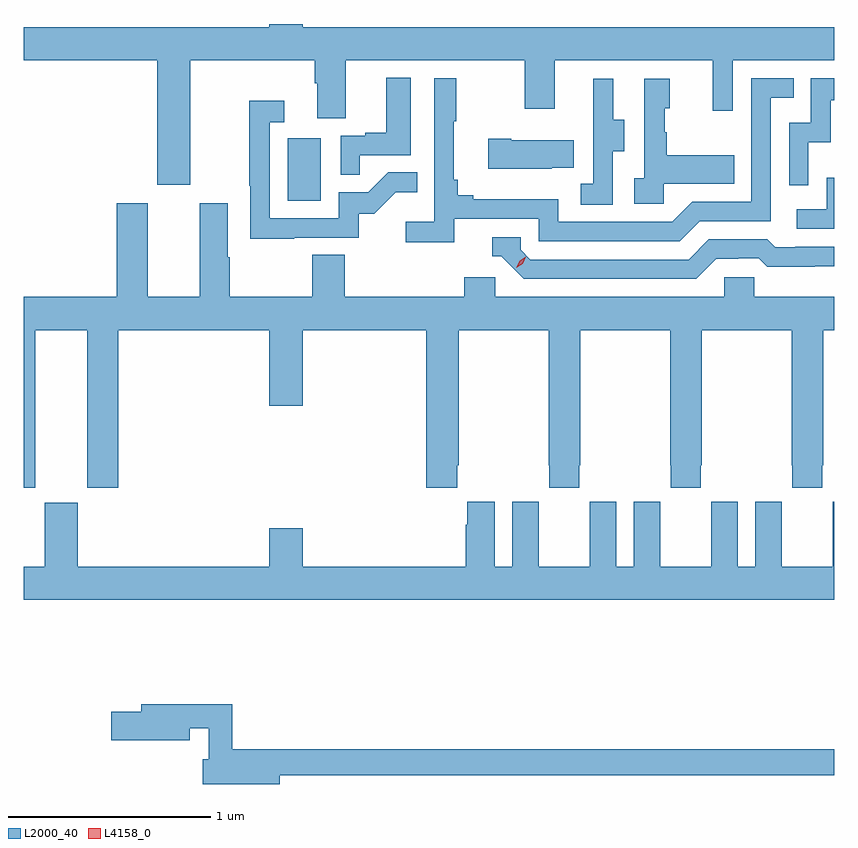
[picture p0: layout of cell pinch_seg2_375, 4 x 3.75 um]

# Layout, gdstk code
import gdstk
lib = gdstk.Library(unit=1e-6, precision=1e-09)
def R(c, l, rs):  # rectangles x0, y0, x1, y1
    for r in rs: c.add(gdstk.rectangle(r[:2], r[2:], *l))
def P(c, l, *ps):  # polygons
    for p in ps: c.add(gdstk.Polygon(p, *l))
L2000_40 = (2000, 40)
L4158_0 = (4158, 0)

pinch_seg2_375 = lib.new_cell('pinch_seg2_375')
R(pinch_seg2_375, L2000_40, [(992.27,624.3,992.434,624.607)])
P(pinch_seg2_375, L2000_40, [(991.789,624.992),(992.405,624.992),(992.405,624.88),(992.417,624.88),(992.417,624.706),(992.557,624.706),(992.557,624.992),(993.442,624.992),(993.442,624.753),(993.589,624.753),(993.589,624.992),(994.37,624.992),(994.37,624.744),(994.467,624.744),(994.467,624.992),(994.968,624.992),(994.968,625.156),(992.344,625.156),(992.344,625.172),(992.18,625.172),(992.18,625.156),(990.968,625.156),(990.968,624.992),(991.625,624.992),(991.625,624.378),(991.789,624.378)],
  [(992.627,624.525),(992.878,624.525),(992.878,624.907),(992.756,624.907),(992.756,624.634),(992.653,624.634),(992.653,624.621),(992.532,624.621),(992.532,624.427),(992.627,624.427)],
  [(993.092,624.21),(993.51,624.21),(993.51,624.099),(994.207,624.099),(994.306,624.198),(994.656,624.198),(994.656,624.807),(994.769,624.807),(994.769,624.903),(994.56,624.903),(994.56,624.294),(994.269,624.294),(994.17,624.195),(993.606,624.195),(993.606,624.307),(993.187,624.307),(993.187,624.326),(993.11,624.326),(993.11,624.403),(993.091,624.403),(993.091,624.691),(993.103,624.691),(993.103,624.904),(992.994,624.904),(992.994,624.196),(992.853,624.196),(992.853,624.094),(993.092,624.094)],
  [(994.842,624.587),(994.952,624.587),(994.952,624.795),(994.968,624.795),(994.968,624.903),(994.854,624.903),(994.854,624.684),(994.746,624.684),(994.746,624.375),(994.842,624.375)],
  [(994.128,624.383),(994.475,624.383),(994.475,624.523),(994.141,624.523),(994.141,624.638),(994.131,624.638),(994.131,624.756),(994.156,624.756),(994.156,624.901),(994.032,624.901),(994.032,624.41),(993.981,624.41),(993.981,624.285),(994.128,624.285)],
  [(993.876,624.544),(993.931,624.544),(993.931,624.699),(993.877,624.699),(993.877,624.901),(993.779,624.901),(993.779,624.687),(993.78,624.687),(993.78,624.383),(993.717,624.383),(993.717,624.28),(993.876,624.28)],
  [(992.303,624.117),(992.622,624.117),(992.622,624.234),(992.698,624.234),(992.805,624.341),(992.909,624.341),(992.909,624.44),(992.766,624.44),(992.668,624.342),(992.523,624.342),(992.523,624.213),(992.181,624.213),(992.181,624.687),(992.254,624.687),(992.254,624.793),(992.08,624.793),(992.08,624.373),(992.085,624.373),(992.085,624.112),(992.303,624.112)],
  [(993.575,624.461),(993.683,624.461),(993.683,624.598),(993.373,624.598),(993.373,624.606),(993.261,624.606),(993.261,624.458),(993.575,624.458)],
  [(994.968,624.412),(994.932,624.412),(994.932,624.258),(994.785,624.258),(994.785,624.162),(994.968,624.162)],
  [(991.024,623.66),(991.28,623.66),(991.28,622.881),(991.433,622.881),(991.433,623.66),(992.18,623.66),(992.18,623.286),(992.344,623.286),(992.344,623.66),(992.954,623.66),(992.954,622.881),(993.107,622.881),(993.107,622.993),(993.114,622.993),(993.114,623.66),(993.559,623.66),(993.559,622.993),(993.561,622.993),(993.561,622.881),(993.711,622.881),(993.711,622.993),(993.714,622.993),(993.714,623.66),(994.159,623.66),(994.159,622.993),(994.161,622.993),(994.161,622.881),(994.311,622.881),(994.311,622.993),(994.314,622.993),(994.314,623.66),(994.759,623.66),(994.759,622.993),(994.761,622.993),(994.761,622.881),(994.911,622.881),(994.911,622.993),(994.914,622.993),(994.914,623.66),(994.968,623.66),(994.968,623.824),(994.575,623.824),(994.575,623.922),(994.425,623.922),(994.425,623.824),(993.294,623.824),(993.294,623.922),(993.143,623.922),(993.143,623.824),(992.552,623.824),(992.552,624.032),(992.392,624.032),(992.392,623.824),(991.983,623.824),(991.983,624.02),(991.975,624.02),(991.975,624.286),(991.835,624.286),(991.835,623.824),(991.579,623.824),(991.579,624.286),(991.427,624.286),(991.427,623.824),(990.968,623.824),(990.968,622.881),(991.024,622.881)],
  [(994.387,624.012),(994.494,624.012),(994.494,624.015),(994.597,624.015),(994.639,623.973),(994.872,623.973),(994.872,623.975),(994.968,623.975),(994.968,624.072),(994.777,624.072),(994.777,624.069),(994.678,624.069),(994.639,624.108),(994.35,624.108),(994.251,624.009),(993.468,624.009),(993.42,624.057),(993.42,624.12),(993.281,624.12),(993.281,624.024),(993.324,624.024),(993.435,623.913),(994.288,623.913)],
  [(994.968,622.813),(994.962,622.813),(994.962,622.7),(994.961,622.7),(994.961,622.492),(994.711,622.492),(994.711,622.7),(994.71,622.7),(994.71,622.813),(994.58,622.813),(994.58,622.492),(994.492,622.492),(994.492,622.813),(994.362,622.813),(994.362,622.7),(994.361,622.7),(994.361,622.492),(994.111,622.492),(994.111,622.7),(994.11,622.7),(994.11,622.813),(993.98,622.813),(993.98,622.492),(993.892,622.492),(993.892,622.813),(993.762,622.813),(993.762,622.7),(993.761,622.7),(993.761,622.492),(993.511,622.492),(993.511,622.7),(993.51,622.7),(993.51,622.813),(993.38,622.813),(993.38,622.492),(993.292,622.492),(993.292,622.813),(993.158,622.813),(993.158,622.7),(993.149,622.7),(993.149,622.492),(992.344,622.492),(992.344,622.681),(992.18,622.681),(992.18,622.492),(991.234,622.492),(991.234,622.809),(991.07,622.809),(991.07,622.492),(990.968,622.492),(990.968,622.328),(994.968,622.328)],
  [(992.23,621.462),(994.968,621.462),(994.968,621.59),(991.997,621.59),(991.997,621.812),(991.547,621.812),(991.547,621.776),(991.398,621.776),(991.398,621.634),(991.786,621.634),(991.786,621.695),(991.881,621.695),(991.881,621.541),(991.85,621.541),(991.85,621.419),(992.23,621.419)])
P(pinch_seg2_375, L4158_0, [(993.399,623.969),(993.399,623.969),(993.415,624.002),(993.445,624.022),(993.445,624.022),(993.445,624.022),(993.43,623.989),(993.399,623.969)])

lib.write_gds('pinch_seg2_375.gds')
